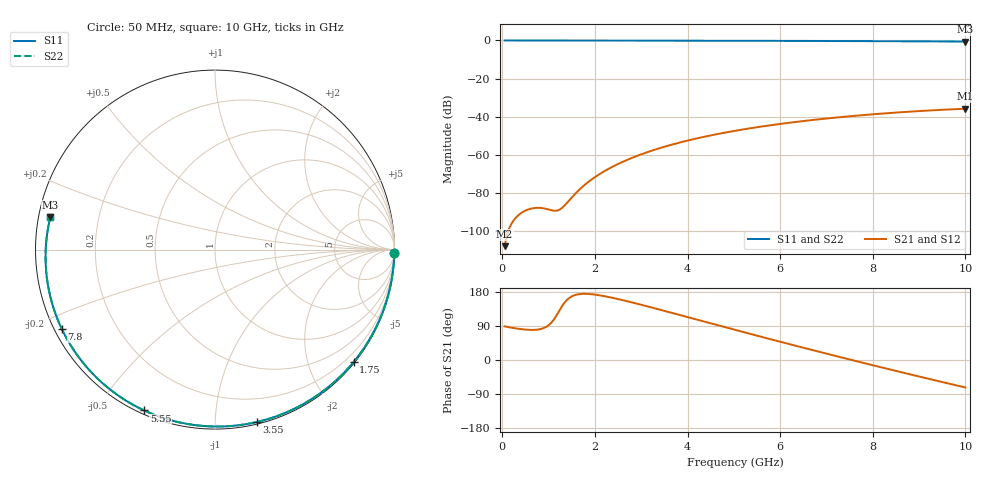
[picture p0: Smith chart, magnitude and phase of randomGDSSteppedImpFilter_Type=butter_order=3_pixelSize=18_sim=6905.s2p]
! freq	dB(S11)	phase(S11)	dB(S12)	phase(S12)
!  dB(S21)	phase(S21)	dB(S22)	phase(S22)
!S-par simulation data
#  GHz  S  DB  R 50
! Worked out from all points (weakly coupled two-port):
!   200 points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, 50 MHz to 10 GHz, reference 50 ohm
!   highest |S21| = -35.81 dB at 10 GHz (marker M1); lowest = -107.9 dB at 50 MHz (marker M2)
!   lowest |S11| = -0.6 dB at 10 GHz (marker M3), VSWR 29.82, Z = 1.69 + j4.85 ohm
!   |S11| at or under -10 dB: nowhere
!   |S22| runs from -0.6 to 0.0 dB; largest |S21 - S12| = 0
!   S11 on the Smith chart (normalised r, x): 50 MHz: open; 1.75 GHz: 0.03, -2.82; 3.55 GHz: 0.02, -1.27; 5.55 GHz: 0.02, -0.65; 7.8 GHz: 0.02, -0.24; 10 GHz: 0.03, +0.10
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0.05  -0.00 -1.1  -107.93 88.8  -107.93 88.8  -0.00 -1.1
0.45  -0.02 -10.2  -89.90 80.8  -89.90 80.8  -0.02 -10.2
0.8  -0.02 -18.1  -87.82 81.0  -87.82 81.0  -0.02 -18.1
1.55  -0.04 -34.7  -81.05 170.5  -81.05 170.5  -0.04 -34.7
1.6  -0.05 -35.8  -79.78 172.4  -79.78 172.4  -0.05 -35.8
1.75  -0.05 -39.1  -76.37 174.6  -76.37 174.6  -0.05 -39.1
2.05  -0.06 -45.5  -70.89 171.7  -70.89 171.7  -0.06 -45.6
2.25  -0.06 -49.8  -67.95 167.4  -67.95 167.4  -0.06 -49.8
2.45  -0.07 -54.0  -65.40 162.2  -65.40 162.2  -0.07 -54.0
2.9  -0.08 -63.3  -60.65 148.9  -60.65 148.9  -0.08 -63.3
3.4  -0.10 -73.4  -56.50 132.9  -56.50 132.9  -0.10 -73.4
3.55  -0.10 -76.4  -55.42 128.0  -55.42 128.0  -0.10 -76.4
4.3  -0.13 -90.9  -50.85 103.4  -50.85 103.4  -0.13 -90.9
5.05  -0.16 -104.8  -47.30 78.8  -47.30 78.8  -0.16 -104.8
5.55  -0.18 -113.7  -45.34 62.6  -45.34 62.6  -0.18 -113.8
6.1  -0.21 -123.4  -43.47 45.0  -43.47 45.0  -0.21 -123.4
6.7  -0.25 -133.8  -41.73 26.1  -41.73 26.1  -0.25 -133.8
7.25  -0.30 -143.2  -40.34 9.0  -40.34 9.0  -0.30 -143.2
7.8  -0.34 -152.5  -39.14 -7.8  -39.14 -7.8  -0.34 -152.5
8.35  -0.40 -161.9  -38.10 -24.4  -38.10 -24.4  -0.40 -161.9
9.2  -0.49 -176.7  -36.77 -49.5  -36.77 -49.5  -0.49 -176.7
10  -0.58 168.9  -35.81 -72.5  -35.81 -72.5  -0.58 168.9
